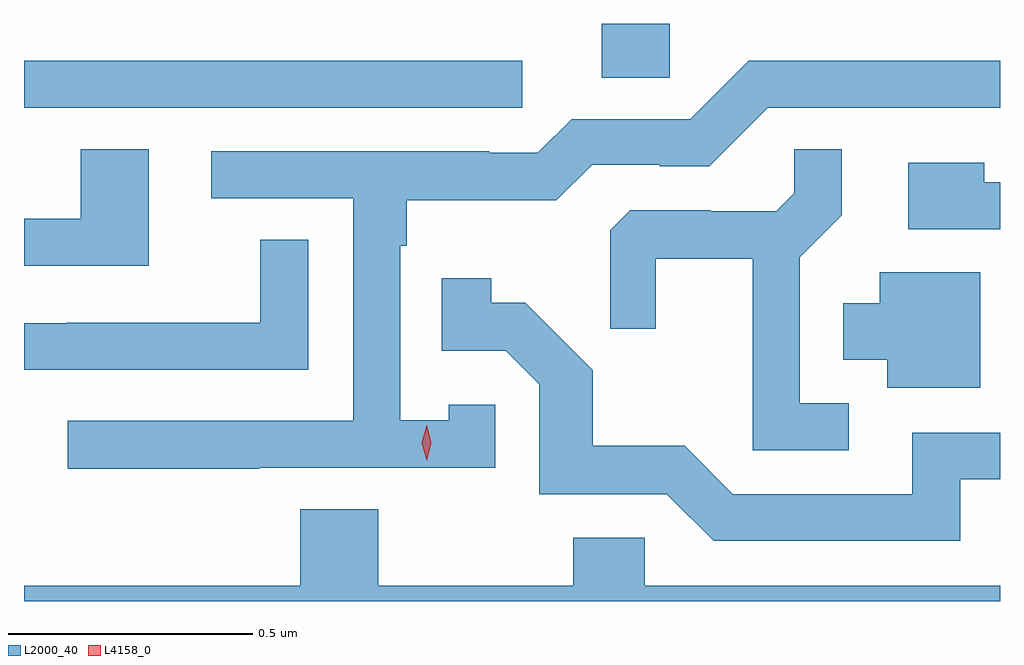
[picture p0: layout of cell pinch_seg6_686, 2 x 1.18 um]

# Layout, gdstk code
import gdstk
lib = gdstk.Library(unit=1e-6, precision=1e-09)
def R(c, l, rs):  # rectangles x0, y0, x1, y1
    for r in rs: c.add(gdstk.rectangle(r[:2], r[2:], *l))
def P(c, l, *ps):  # polygons
    for p in ps: c.add(gdstk.Polygon(p, *l))
L2000_40 = (2000, 40)
L4158_0 = (4158, 0)

pinch_seg6_686 = lib.new_cell('pinch_seg6_686')
R(pinch_seg6_686, L2000_40, [(384.015,916.512,385.036,916.608), (385.199,916.573,385.338,916.684)])
P(pinch_seg6_686, L2000_40, [(384.497,915.774),(384.981,915.774),(384.981,915.903),(384.885,915.903),(384.885,915.871),(384.786,915.871),(384.786,916.229),(384.799,916.229),(384.799,916.322),(385.106,916.322),(385.179,916.395),(385.318,916.395),(385.318,916.392),(385.419,916.392),(385.539,916.512),(386.015,916.512),(386.015,916.608),(385.5,916.608),(385.38,916.488),(385.137,916.488),(385.068,916.419),(384.968,916.419),(384.968,916.422),(384.399,916.422),(384.399,916.326),(384.69,916.326),(384.69,915.87),(384.105,915.87),(384.105,915.772),(384.497,915.772)],
  [(385.705,915.906),(385.605,915.906),(385.605,916.205),(385.691,916.291),(385.691,916.427),(385.593,916.427),(385.593,916.336),(385.556,916.299),(385.422,916.299),(385.422,916.302),(385.257,916.302),(385.216,916.261),(385.216,916.059),(385.31,916.059),(385.31,916.202),(385.508,916.202),(385.508,915.81),(385.705,915.81)],
  [(384.271,916.427),(384.131,916.427),(384.131,916.284),(384.015,916.284),(384.015,916.188),(384.271,916.188)],
  [(386.015,916.359),(385.983,916.359),(385.983,916.399),(385.827,916.399),(385.827,916.263),(386.015,916.263)],
  [(384.597,916.241),(384.499,916.241),(384.499,916.071),(384.103,916.071),(384.103,916.07),(384.015,916.07),(384.015,915.975),(384.597,915.975)],
  [(385.975,916.174),(385.769,916.174),(385.769,916.111),(385.694,916.111),(385.694,915.995),(385.784,915.995),(385.784,915.938),(385.975,915.938)],
  [(385.934,915.75),(386.015,915.75),(386.015,915.846),(385.835,915.846),(385.835,915.72),(385.467,915.72),(385.369,915.819),(385.18,915.819),(385.18,915.974),(385.042,916.112),(384.972,916.112),(384.972,916.162),(384.871,916.162),(384.871,916.014),(385.002,916.014),(385.071,915.945),(385.071,915.72),(385.332,915.72),(385.428,915.624),(385.934,915.624)],
  [(386.015,915.532),(385.287,915.532),(385.287,915.63),(385.141,915.63),(385.141,915.532),(384.741,915.532),(384.741,915.689),(384.581,915.689),(384.581,915.532),(384.015,915.532),(384.015,915.5),(386.015,915.5)])
P(pinch_seg6_686, L4158_0, [(384.84,915.789),(384.84,915.789),(384.83,915.825),(384.84,915.861),(384.84,915.861),(384.84,915.861),(384.85,915.825),(384.84,915.789)])

lib.write_gds('pinch_seg6_686.gds')
